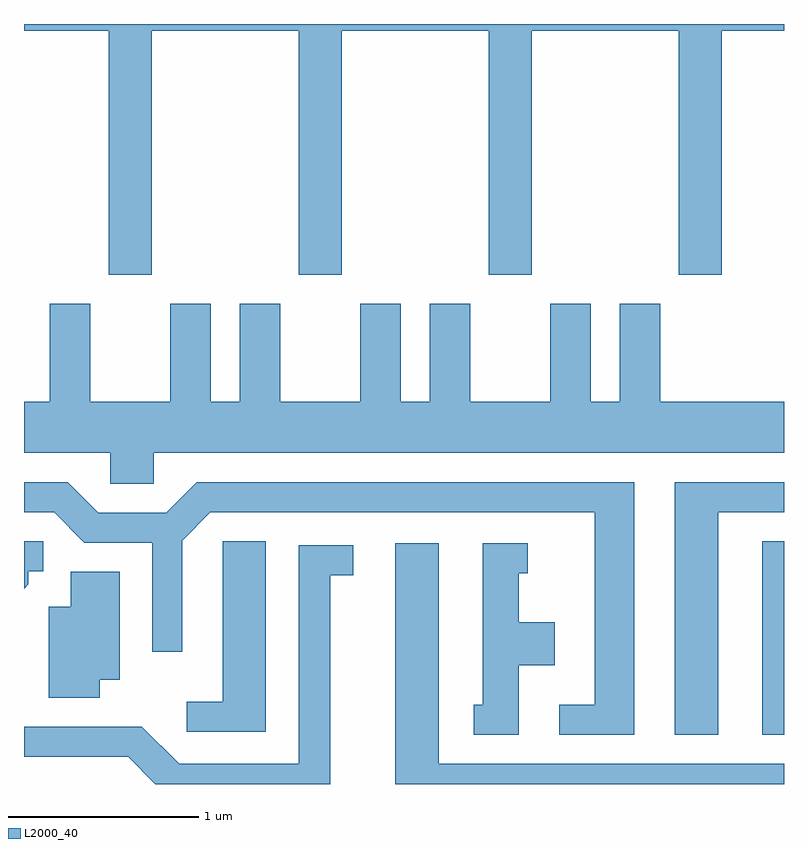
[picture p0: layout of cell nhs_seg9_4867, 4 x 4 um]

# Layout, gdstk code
import gdstk
lib = gdstk.Library(unit=1e-6, precision=1e-09)
def R(c, l, rs):  # rectangles x0, y0, x1, y1
    for r in rs: c.add(gdstk.rectangle(r[:2], r[2:], *l))
def P(c, l, *ps):  # polygons
    for p in ps: c.add(gdstk.Polygon(p, *l))
L2000_40 = (2000, 40)

nhs_seg9_4867 = lib.new_cell('nhs_seg9_4867')
R(nhs_seg9_4867, L2000_40, [(331.496,2074.691,331.611,2075.709)])
P(nhs_seg9_4867, L2000_40, [(328.284,2078.396),(329.056,2078.396),(329.056,2077.111),(329.284,2077.111),(329.284,2078.396),(330.056,2078.396),(330.056,2077.111),(330.284,2077.111),(330.284,2078.396),(331.056,2078.396),(331.056,2077.111),(331.284,2077.111),(331.284,2078.396),(331.611,2078.396),(331.611,2078.432),(327.611,2078.432),(327.611,2078.396),(328.056,2078.396),(328.056,2077.111),(328.284,2077.111)],
  [(328.294,2076.176),(331.611,2076.176),(331.611,2076.444),(330.959,2076.444),(330.959,2076.959),(330.746,2076.959),(330.746,2076.444),(330.594,2076.444),(330.594,2076.959),(330.381,2076.959),(330.381,2076.444),(329.959,2076.444),(329.959,2076.959),(329.746,2076.959),(329.746,2076.444),(329.594,2076.444),(329.594,2076.959),(329.381,2076.959),(329.381,2076.444),(328.959,2076.444),(328.959,2076.959),(328.746,2076.959),(328.746,2076.444),(328.594,2076.444),(328.594,2076.959),(328.381,2076.959),(328.381,2076.444),(327.959,2076.444),(327.959,2076.959),(327.746,2076.959),(327.746,2076.444),(327.611,2076.444),(327.611,2076.176),(328.066,2076.176),(328.066,2076.011),(328.294,2076.011)],
  [(331.264,2075.861),(331.611,2075.861),(331.611,2076.019),(331.036,2076.019),(331.036,2074.691),(331.264,2074.691)],
  [(330.824,2076.019),(328.519,2076.019),(328.359,2075.859),(328.002,2075.859),(327.842,2076.019),(327.611,2076.019),(327.611,2075.861),(327.769,2075.861),(327.929,2075.701),(328.286,2075.701),(328.286,2075.128),(328.444,2075.128),(328.444,2075.713),(328.592,2075.861),(330.616,2075.861),(330.616,2074.849),(330.428,2074.849),(330.428,2074.691),(330.824,2074.691)],
  [(328.884,2075.709),(328.656,2075.709),(328.656,2074.864),(328.468,2074.864),(328.468,2074.706),(328.884,2074.706)],
  [(327.634,2075.483),(327.634,2075.551),(327.713,2075.551),(327.713,2075.709),(327.611,2075.709),(327.611,2075.46)],
  [(330.214,2075.056),(330.404,2075.056),(330.404,2075.284),(330.214,2075.284),(330.214,2075.541),(330.263,2075.541),(330.263,2075.699),(330.026,2075.699),(330.026,2074.849),(329.978,2074.849),(329.978,2074.691),(330.214,2074.691)],
  [(331.611,2074.539),(329.794,2074.539),(329.794,2075.699),(329.566,2075.699),(329.566,2074.432),(331.611,2074.432)],
  [(329.224,2075.531),(329.343,2075.531),(329.343,2075.689),(329.056,2075.689),(329.056,2074.539),(328.427,2074.539),(328.232,2074.734),(327.611,2074.734),(327.611,2074.576),(328.159,2074.576),(328.303,2074.432),(329.224,2074.432)],
  [(328.009,2074.981),(328.114,2074.981),(328.114,2075.549),(327.856,2075.549),(327.856,2075.364),(327.741,2075.364),(327.741,2074.886),(328.009,2074.886)])

lib.write_gds('nhs_seg9_4867.gds')
